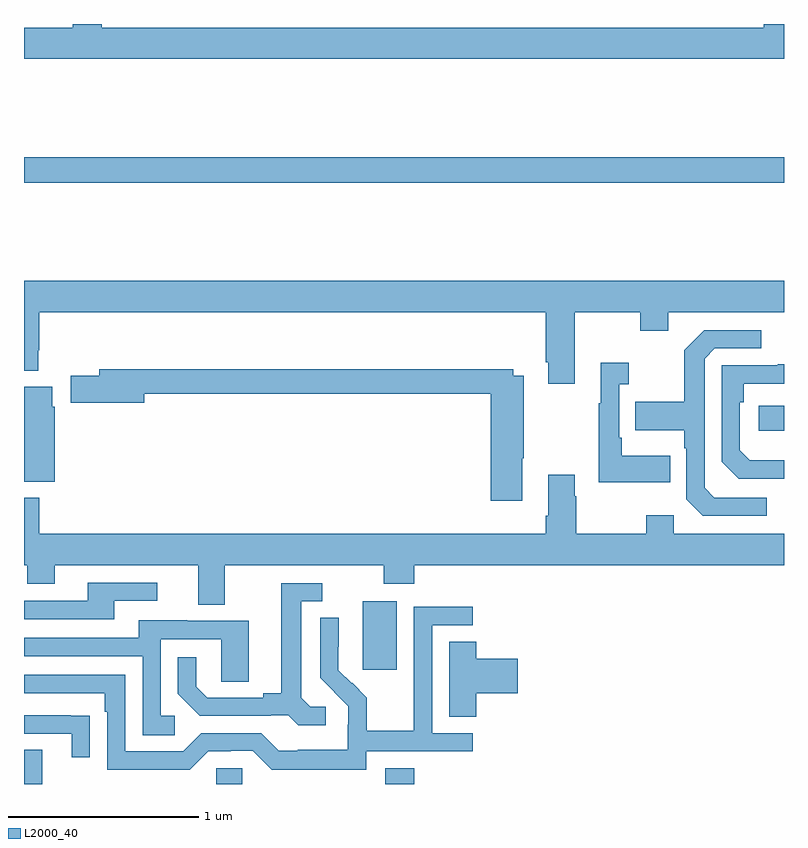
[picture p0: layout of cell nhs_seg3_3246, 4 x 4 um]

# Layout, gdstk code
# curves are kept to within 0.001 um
import gdstk
lib = gdstk.Library(unit=1e-6, precision=1e-09)
def R(c, l, rs):  # rectangles x0, y0, x1, y1
    for r in rs: c.add(gdstk.rectangle(r[:2], r[2:], *l))
def P(c, l, *ps):  # polygons
    for p in ps: c.add(gdstk.Polygon(p, *l))
L2000_40 = (2000, 40)

nhs_seg3_3246 = lib.new_cell('nhs_seg3_3246')
R(nhs_seg3_3246, L2000_40, [(279,730.4,279.097,730.579), (280.011,730.4,280.149,730.482), (280.901,730.4,281.054,730.483), (280.784,731.001,280.963,731.362), (282.867,732.26,283,732.39), (279,733.564,283,733.7)])
P(nhs_seg3_3246, L2000_40, [(283,734.4),(282.893,734.4),(282.893,734.38),(279.41,734.38),(279.41,734.4),(279.257,734.4),(279.257,734.38),(279,734.38),(279,734.216),(283,734.216)],
  [(281.899,732.884),(282.244,732.884),(282.244,732.785),(282.391,732.785),(282.391,732.884),(283,732.884),(283,733.048),(279,733.048),(279,732.575),(279.075,732.575),(279.075,732.682),(279.08,732.682),(279.08,732.884),(281.747,732.884),(281.747,732.619),(281.759,732.619),(281.759,732.507),(281.899,732.507)],
  [(282.91,731.907),(282.633,731.907),(282.582,731.958),(282.582,732.639),(282.636,732.693),(282.88,732.693),(282.88,732.789),(282.579,732.789),(282.474,732.683),(282.474,732.411),(282.217,732.411),(282.217,732.263),(282.474,732.263),(282.474,732.167),(282.486,732.167),(282.486,731.898),(282.573,731.811),(282.91,731.811)],
  [(282.401,732.127),(282.145,732.127),(282.145,732.223),(282.132,732.223),(282.132,732.503),(282.184,732.503),(282.184,732.616),(282.035,732.616),(282.035,732.403),(282.024,732.403),(282.024,731.987),(282.401,731.987)],
  [(283,732.103),(282.821,732.103),(282.768,732.156),(282.768,732.41),(282.788,732.41),(282.788,732.507),(283,732.507),(283,732.608),(282.967,732.608),(282.967,732.603),(282.672,732.603),(282.672,732.096),(282.762,732.006),(283,732.006)],
  [(281.623,732.115),(281.631,732.115),(281.631,732.55),(281.574,732.55),(281.574,732.583),(279.395,732.583),(279.395,732.549),(279.246,732.549),(279.246,732.407),(279.634,732.407),(279.634,732.454),(281.456,732.454),(281.456,731.892),(281.623,731.892)],
  [(279.161,732.386),(279.148,732.386),(279.148,732.49),(279,732.49),(279,732.362),(279.002,732.362),(279.002,732.087),(279,732.087),(279,731.991),(279.161,731.991)],
  [(280.057,731.552),(280.894,731.552),(280.894,731.453),(281.054,731.453),(281.054,731.552),(283,731.552),(283,731.716),(282.42,731.716),(282.42,731.815),(282.274,731.815),(282.274,731.716),(281.907,731.716),(281.907,731.915),(281.899,731.915),(281.899,732.028),(281.759,732.028),(281.759,731.812),(281.747,731.812),(281.747,731.716),(279.08,731.716),(279.08,731.906),(279,731.906),(279,731.552),(279.016,731.552),(279.016,731.453),(279.163,731.453),(279.163,731.552),(279.917,731.552),(279.917,731.344),(280.057,731.344)],
  [(279.475,731.364),(279.7,731.364),(279.7,731.46),(279.335,731.46),(279.335,731.364),(279,731.364),(279,731.268),(279.475,731.268)],
  [(280.588,730.806),(280.506,730.806),(280.459,730.853),(280.459,731.361),(280.57,731.361),(280.57,731.457),(280.355,731.457),(280.355,730.877),(280.259,730.877),(280.259,730.854),(279.964,730.854),(279.907,730.911),(279.907,731.068),(279.81,731.068),(279.81,730.874),(279.926,730.758),(280.298,730.758),(280.298,730.761),(280.392,730.761),(280.444,730.709),(280.588,730.709)],
  [(280.8,730.572),(281.362,730.572),(281.362,730.668),(281.148,730.668),(281.148,731.235),(281.362,731.235),(281.362,731.334),(281.052,731.334),(281.052,730.904),(281.05,730.904),(281.05,730.681),(280.805,730.681),(280.805,730.855),(280.728,730.932),(280.725,730.929),(280.655,731),(280.656,731.276),(280.56,731.276),(280.56,730.958),(280.706,730.81),(280.706,730.713),(280.704,730.713),(280.704,730.579),(280.441,730.579),(280.441,730.575),(280.341,730.575),(280.248,730.668),(279.933,730.668),(279.837,730.572),(279.534,730.572),(279.534,730.974),(279,730.974),(279,730.878),(279.425,730.878),(279.425,730.781),(279.438,730.781),(279.438,730.476),(279.873,730.476),(279.969,730.572),(280.088,730.572),(280.088,730.575),(280.203,730.575),(280.303,730.475),(280.8,730.475)],
  [(279.793,730.758),(279.72,730.758),(279.72,731.163),(280.038,731.163),(280.038,730.939),(280.183,730.939),(280.183,731.259),(279.859,731.259),(279.859,731.263),(279.605,731.263),(279.605,731.169),(279,731.169),(279,731.073),(279.624,731.073),(279.624,730.657),(279.793,730.657)],
  [(281.381,730.877),(281.599,730.877),(281.599,731.06),(281.381,731.06),(281.381,731.15),(281.237,731.15),(281.237,730.753),(281.381,730.753)],
  [(279.347,730.76),(279.245,730.76),(279.245,730.761),(279,730.761),(279,730.665),(279.251,730.665),(279.251,730.542),(279.347,730.542)])

lib.write_gds('nhs_seg3_3246.gds')
